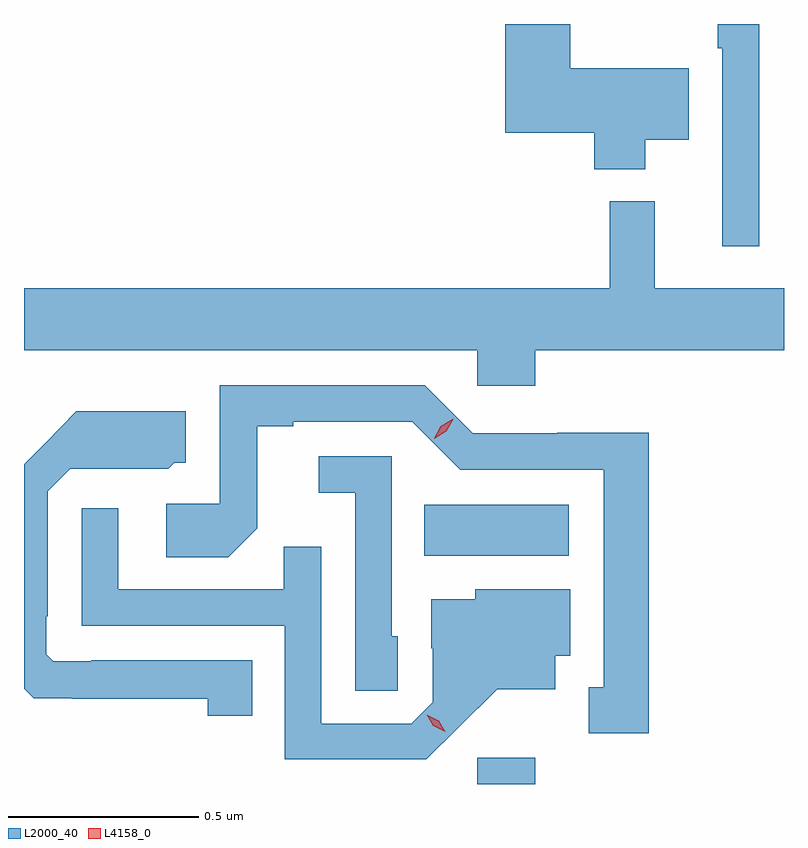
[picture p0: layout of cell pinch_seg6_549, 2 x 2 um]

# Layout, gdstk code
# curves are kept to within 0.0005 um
import gdstk
lib = gdstk.Library(unit=1e-6, precision=1e-09)
def R(c, l, rs):  # rectangles x0, y0, x1, y1
    for r in rs: c.add(gdstk.rectangle(r[:2], r[2:], *l))
def P(c, l, *ps):  # polygons
    for p in ps: c.add(gdstk.Polygon(p, *l))
L2000_40 = (2000, 40)
L4158_0 = (4158, 0)

pinch_seg6_549 = lib.new_cell('pinch_seg6_549')
R(pinch_seg6_549, L2000_40, [(771.762,938.203,771.914,938.272), (771.622,938.804,772.003,938.938)])
P(pinch_seg6_549, L2000_40, [(772.504,940.203),(772.395,940.203),(772.395,940.139),(772.407,940.139),(772.407,939.618),(772.504,939.618)],
  [(772.204,939.899),(772.318,939.899),(772.318,940.087),(772.006,940.087),(772.006,940.203),(771.836,940.203),(771.836,939.917),(772.07,939.917),(772.07,939.821),(772.204,939.821)],
  [(771.914,939.344),(772.569,939.344),(772.569,939.508),(772.229,939.508),(772.229,939.736),(772.111,939.736),(772.111,939.508),(770.569,939.508),(770.569,939.344),(771.762,939.344),(771.762,939.251),(771.914,939.251)],
  [(772.213,939.128),(771.972,939.128),(771.972,939.126),(771.75,939.126),(771.624,939.252),(771.084,939.252),(771.084,938.94),(770.943,938.94),(770.943,938.8),(771.107,938.8),(771.183,938.876),(771.183,939.144),(771.277,939.144),(771.277,939.156),(771.591,939.156),(771.717,939.03),(772.094,939.03),(772.094,938.457),(772.055,938.457),(772.055,938.337),(772.213,938.337)],
  [(771.17,938.529),(770.746,938.529),(770.746,938.526),(770.646,938.526),(770.628,938.544),(770.628,938.644),(770.631,938.644),(770.631,938.973),(770.691,939.033),(770.814,939.033),(770.814,939.032),(770.948,939.032),(770.964,939.048),(770.995,939.048),(770.995,939.184),(770.707,939.184),(770.569,939.044),(770.569,938.454),(770.594,938.429),(770.695,938.429),(770.695,938.428),(771.052,938.428),(771.052,938.382),(771.17,938.382)],
  [(771.552,938.592),(771.537,938.592),(771.537,939.066),(771.345,939.066),(771.345,938.969),(771.441,938.969),(771.441,938.449),(771.552,938.449)],
  [(771.712,938.351),(771.815,938.453),(771.967,938.453),(771.967,938.54),(772.006,938.54),(772.006,938.716),(771.756,938.716),(771.756,938.689),(771.641,938.689),(771.641,938.56),(771.645,938.56),(771.645,938.418),(771.588,938.361),(771.351,938.361),(771.351,938.828),(771.253,938.828),(771.253,938.715),(770.817,938.715),(770.817,938.929),(770.721,938.929),(770.721,938.619),(771.255,938.619),(771.255,938.268),(771.628,938.268)])
P(pinch_seg6_549, L4158_0, [(771.648,939.112),(771.648,939.113),(771.666,939.145),(771.698,939.164),(771.698,939.164),(771.698,939.163),(771.68,939.131),(771.649,939.112)],
  [(771.677,938.34),(771.646,938.356),(771.629,938.385),(771.629,938.385),(771.629,938.385),(771.66,938.37),(771.677,938.341),(771.677,938.34)])

lib.write_gds('pinch_seg6_549.gds')
